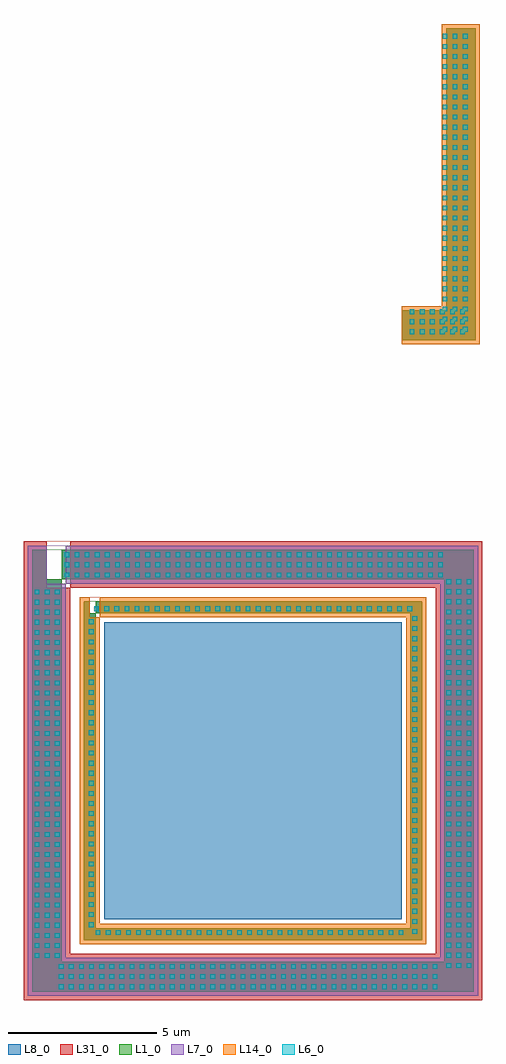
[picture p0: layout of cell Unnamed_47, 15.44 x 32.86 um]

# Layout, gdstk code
from math import pi, radians
import gdstk
lib = gdstk.Library(unit=1e-6, precision=1e-09)
def R(c, l, rs):  # rectangles x0, y0, x1, y1
    for r in rs: c.add(gdstk.rectangle(r[:2], r[2:], *l))
def P(c, l, *ps):  # polygons
    for p in ps: c.add(gdstk.Polygon(p, *l))
L1_0 = (1, 0)
L6_0 = (6, 0)
L7_0 = (7, 0)
L8_0 = (8, 0)
L14_0 = (14, 0)
L31_0 = (31, 0)

rectangle_gdsfactorypcom = lib.new_cell('rectangle_gdsfactorypcomponentspshapesprectangle_S10_10_8804435d')
R(rectangle_gdsfactorypcom, L8_0, [(0,0,10,10)])

unnamed_49 = lib.new_cell('Unnamed_49')
P(unnamed_49, L1_0, [(-0.7,-0.7),(-0.7,10.7),(-0.3,10.7),(-0.3,-0.3),(10.3,-0.3),(10.3,10.3),(-0.5,10.3),(-0.5,10.7),(10.7,10.7),(10.7,-0.7)])

unnamed_50 = lib.new_cell('Unnamed_50')
P(unnamed_50, L8_0, [(-0.7,-0.7),(-0.7,10.7),(-0.3,10.7),(-0.3,-0.3),(10.3,-0.3),(10.3,10.3),(-0.5,10.3),(-0.5,10.7),(10.7,10.7),(10.7,-0.7)])

unnamed_51 = lib.new_cell('Unnamed_51')
P(unnamed_51, L14_0, [(-0.84,-0.84),(-0.84,10.84),(-0.16,10.84),(-0.16,-0.16),(10.16,-0.16),(10.16,10.16),(-0.5,10.16),(-0.5,10.84),(10.84,10.84),(10.84,-0.84)])

c_rectangle_gdsfactorypcom = lib.new_cell('rectangle_gdsfactorypcomponentspshapesprectangle_S0p16__bf15bdcd')
R(c_rectangle_gdsfactorypcom, L6_0, [(0,0,0.16,0.16)])

via_array_vtcont_c1_r1_v = lib.new_cell('via_array_VTCont_C1_R1_VS0p16_VS0p33999999999999997_VE0_7d22e1aa')
via_array_vtcont_c1_r1_v.add(gdstk.Reference(c_rectangle_gdsfactorypcom, (0,0)))

unnamed_52 = lib.new_cell('Unnamed_52')
unnamed_52.add(gdstk.Reference(via_array_vtcont_c1_r1_v, (10.37,5.105), rotation=3*pi/2))
unnamed_52.add(gdstk.Reference(via_array_vtcont_c1_r1_v, (5.435,10.37)))
unnamed_52.add(gdstk.Reference(via_array_vtcont_c1_r1_v, (5.775,10.37)))
unnamed_52.add(gdstk.Reference(via_array_vtcont_c1_r1_v, (6.115,10.37)))
unnamed_52.add(gdstk.Reference(via_array_vtcont_c1_r1_v, (6.455,10.37)))
unnamed_52.add(gdstk.Reference(via_array_vtcont_c1_r1_v, (6.795,10.37)))
unnamed_52.add(gdstk.Reference(via_array_vtcont_c1_r1_v, (7.135,10.37)))
unnamed_52.add(gdstk.Reference(via_array_vtcont_c1_r1_v, (7.475,10.37)))
unnamed_52.add(gdstk.Reference(via_array_vtcont_c1_r1_v, (7.815,10.37)))
unnamed_52.add(gdstk.Reference(via_array_vtcont_c1_r1_v, (8.155,10.37)))
unnamed_52.add(gdstk.Reference(via_array_vtcont_c1_r1_v, (8.495,10.37)))
unnamed_52.add(gdstk.Reference(via_array_vtcont_c1_r1_v, (8.835,10.37)))
unnamed_52.add(gdstk.Reference(via_array_vtcont_c1_r1_v, (9.175,10.37)))
unnamed_52.add(gdstk.Reference(via_array_vtcont_c1_r1_v, (9.515,10.37)))
unnamed_52.add(gdstk.Reference(via_array_vtcont_c1_r1_v, (9.855,10.37)))
unnamed_52.add(gdstk.Reference(via_array_vtcont_c1_r1_v, (10.195,10.37)))
unnamed_52.add(gdstk.Reference(via_array_vtcont_c1_r1_v, (10.37,10.205), rotation=3*pi/2))
unnamed_52.add(gdstk.Reference(via_array_vtcont_c1_r1_v, (10.37,9.865), rotation=3*pi/2))
unnamed_52.add(gdstk.Reference(via_array_vtcont_c1_r1_v, (10.37,9.525), rotation=3*pi/2))
unnamed_52.add(gdstk.Reference(via_array_vtcont_c1_r1_v, (10.37,9.185), rotation=3*pi/2))
unnamed_52.add(gdstk.Reference(via_array_vtcont_c1_r1_v, (10.37,8.845), rotation=3*pi/2))
unnamed_52.add(gdstk.Reference(via_array_vtcont_c1_r1_v, (10.37,8.505), rotation=3*pi/2))
unnamed_52.add(gdstk.Reference(via_array_vtcont_c1_r1_v, (10.37,8.165), rotation=3*pi/2))
unnamed_52.add(gdstk.Reference(via_array_vtcont_c1_r1_v, (10.37,7.825), rotation=3*pi/2))
unnamed_52.add(gdstk.Reference(via_array_vtcont_c1_r1_v, (10.37,7.485), rotation=3*pi/2))
unnamed_52.add(gdstk.Reference(via_array_vtcont_c1_r1_v, (10.37,7.145), rotation=3*pi/2))
unnamed_52.add(gdstk.Reference(via_array_vtcont_c1_r1_v, (10.37,6.805), rotation=3*pi/2))
unnamed_52.add(gdstk.Reference(via_array_vtcont_c1_r1_v, (10.37,6.465), rotation=3*pi/2))
unnamed_52.add(gdstk.Reference(via_array_vtcont_c1_r1_v, (10.37,6.125), rotation=3*pi/2))
unnamed_52.add(gdstk.Reference(via_array_vtcont_c1_r1_v, (10.37,5.785), rotation=3*pi/2))
unnamed_52.add(gdstk.Reference(via_array_vtcont_c1_r1_v, (10.37,5.445), rotation=3*pi/2))
unnamed_52.add(gdstk.Reference(via_array_vtcont_c1_r1_v, (5.095,10.37)))
unnamed_52.add(gdstk.Reference(via_array_vtcont_c1_r1_v, (-0.345,10.37)))
unnamed_52.add(gdstk.Reference(via_array_vtcont_c1_r1_v, (-0.005,10.37)))
unnamed_52.add(gdstk.Reference(via_array_vtcont_c1_r1_v, (0.335,10.37)))
unnamed_52.add(gdstk.Reference(via_array_vtcont_c1_r1_v, (0.675,10.37)))
unnamed_52.add(gdstk.Reference(via_array_vtcont_c1_r1_v, (1.015,10.37)))
unnamed_52.add(gdstk.Reference(via_array_vtcont_c1_r1_v, (1.355,10.37)))
unnamed_52.add(gdstk.Reference(via_array_vtcont_c1_r1_v, (1.695,10.37)))
unnamed_52.add(gdstk.Reference(via_array_vtcont_c1_r1_v, (2.035,10.37)))
unnamed_52.add(gdstk.Reference(via_array_vtcont_c1_r1_v, (2.375,10.37)))
unnamed_52.add(gdstk.Reference(via_array_vtcont_c1_r1_v, (2.715,10.37)))
unnamed_52.add(gdstk.Reference(via_array_vtcont_c1_r1_v, (3.055,10.37)))
unnamed_52.add(gdstk.Reference(via_array_vtcont_c1_r1_v, (3.395,10.37)))
unnamed_52.add(gdstk.Reference(via_array_vtcont_c1_r1_v, (3.735,10.37)))
unnamed_52.add(gdstk.Reference(via_array_vtcont_c1_r1_v, (4.075,10.37)))
unnamed_52.add(gdstk.Reference(via_array_vtcont_c1_r1_v, (4.415,10.37)))
unnamed_52.add(gdstk.Reference(via_array_vtcont_c1_r1_v, (4.755,10.37)))
unnamed_52.add(gdstk.Reference(via_array_vtcont_c1_r1_v, (-0.37,5.175), rotation=pi/2))
unnamed_52.add(gdstk.Reference(via_array_vtcont_c1_r1_v, (-0.37,5.515), rotation=pi/2))
unnamed_52.add(gdstk.Reference(via_array_vtcont_c1_r1_v, (-0.37,5.855), rotation=pi/2))
unnamed_52.add(gdstk.Reference(via_array_vtcont_c1_r1_v, (-0.37,6.195), rotation=pi/2))
unnamed_52.add(gdstk.Reference(via_array_vtcont_c1_r1_v, (-0.37,6.535), rotation=pi/2))
unnamed_52.add(gdstk.Reference(via_array_vtcont_c1_r1_v, (-0.37,6.875), rotation=pi/2))
unnamed_52.add(gdstk.Reference(via_array_vtcont_c1_r1_v, (-0.37,7.215), rotation=pi/2))
unnamed_52.add(gdstk.Reference(via_array_vtcont_c1_r1_v, (-0.37,7.555), rotation=pi/2))
unnamed_52.add(gdstk.Reference(via_array_vtcont_c1_r1_v, (-0.37,7.895), rotation=pi/2))
unnamed_52.add(gdstk.Reference(via_array_vtcont_c1_r1_v, (-0.37,8.235), rotation=pi/2))
unnamed_52.add(gdstk.Reference(via_array_vtcont_c1_r1_v, (-0.37,8.575), rotation=pi/2))
unnamed_52.add(gdstk.Reference(via_array_vtcont_c1_r1_v, (-0.37,8.915), rotation=pi/2))
unnamed_52.add(gdstk.Reference(via_array_vtcont_c1_r1_v, (-0.37,9.255), rotation=pi/2))
unnamed_52.add(gdstk.Reference(via_array_vtcont_c1_r1_v, (-0.37,9.595), rotation=pi/2))
unnamed_52.add(gdstk.Reference(via_array_vtcont_c1_r1_v, (-0.37,9.935), rotation=pi/2))
unnamed_52.add(gdstk.Reference(via_array_vtcont_c1_r1_v, (-0.135,-0.37), rotation=pi))
unnamed_52.add(gdstk.Reference(via_array_vtcont_c1_r1_v, (-0.37,-0.265), rotation=pi/2))
unnamed_52.add(gdstk.Reference(via_array_vtcont_c1_r1_v, (-0.37,0.075), rotation=pi/2))
unnamed_52.add(gdstk.Reference(via_array_vtcont_c1_r1_v, (-0.37,0.415), rotation=pi/2))
unnamed_52.add(gdstk.Reference(via_array_vtcont_c1_r1_v, (-0.37,0.755), rotation=pi/2))
unnamed_52.add(gdstk.Reference(via_array_vtcont_c1_r1_v, (-0.37,1.095), rotation=pi/2))
unnamed_52.add(gdstk.Reference(via_array_vtcont_c1_r1_v, (-0.37,1.435), rotation=pi/2))
unnamed_52.add(gdstk.Reference(via_array_vtcont_c1_r1_v, (-0.37,1.775), rotation=pi/2))
unnamed_52.add(gdstk.Reference(via_array_vtcont_c1_r1_v, (-0.37,2.115), rotation=pi/2))
unnamed_52.add(gdstk.Reference(via_array_vtcont_c1_r1_v, (-0.37,2.455), rotation=pi/2))
unnamed_52.add(gdstk.Reference(via_array_vtcont_c1_r1_v, (-0.37,2.795), rotation=pi/2))
unnamed_52.add(gdstk.Reference(via_array_vtcont_c1_r1_v, (-0.37,3.135), rotation=pi/2))
unnamed_52.add(gdstk.Reference(via_array_vtcont_c1_r1_v, (-0.37,3.475), rotation=pi/2))
unnamed_52.add(gdstk.Reference(via_array_vtcont_c1_r1_v, (-0.37,3.815), rotation=pi/2))
unnamed_52.add(gdstk.Reference(via_array_vtcont_c1_r1_v, (-0.37,4.155), rotation=pi/2))
unnamed_52.add(gdstk.Reference(via_array_vtcont_c1_r1_v, (-0.37,4.495), rotation=pi/2))
unnamed_52.add(gdstk.Reference(via_array_vtcont_c1_r1_v, (-0.37,4.835), rotation=pi/2))
unnamed_52.add(gdstk.Reference(via_array_vtcont_c1_r1_v, (4.965,-0.37), rotation=pi))
unnamed_52.add(gdstk.Reference(via_array_vtcont_c1_r1_v, (4.625,-0.37), rotation=pi))
unnamed_52.add(gdstk.Reference(via_array_vtcont_c1_r1_v, (4.285,-0.37), rotation=pi))
unnamed_52.add(gdstk.Reference(via_array_vtcont_c1_r1_v, (3.945,-0.37), rotation=pi))
unnamed_52.add(gdstk.Reference(via_array_vtcont_c1_r1_v, (3.605,-0.37), rotation=pi))
unnamed_52.add(gdstk.Reference(via_array_vtcont_c1_r1_v, (3.265,-0.37), rotation=pi))
unnamed_52.add(gdstk.Reference(via_array_vtcont_c1_r1_v, (2.925,-0.37), rotation=pi))
unnamed_52.add(gdstk.Reference(via_array_vtcont_c1_r1_v, (2.585,-0.37), rotation=pi))
unnamed_52.add(gdstk.Reference(via_array_vtcont_c1_r1_v, (2.245,-0.37), rotation=pi))
unnamed_52.add(gdstk.Reference(via_array_vtcont_c1_r1_v, (1.905,-0.37), rotation=pi))
unnamed_52.add(gdstk.Reference(via_array_vtcont_c1_r1_v, (1.565,-0.37), rotation=pi))
unnamed_52.add(gdstk.Reference(via_array_vtcont_c1_r1_v, (1.225,-0.37), rotation=pi))
unnamed_52.add(gdstk.Reference(via_array_vtcont_c1_r1_v, (0.885,-0.37), rotation=pi))
unnamed_52.add(gdstk.Reference(via_array_vtcont_c1_r1_v, (0.545,-0.37), rotation=pi))
unnamed_52.add(gdstk.Reference(via_array_vtcont_c1_r1_v, (0.205,-0.37), rotation=pi))
unnamed_52.add(gdstk.Reference(via_array_vtcont_c1_r1_v, (10.065,-0.37), rotation=pi))
unnamed_52.add(gdstk.Reference(via_array_vtcont_c1_r1_v, (9.725,-0.37), rotation=pi))
unnamed_52.add(gdstk.Reference(via_array_vtcont_c1_r1_v, (9.385,-0.37), rotation=pi))
unnamed_52.add(gdstk.Reference(via_array_vtcont_c1_r1_v, (9.045,-0.37), rotation=pi))
unnamed_52.add(gdstk.Reference(via_array_vtcont_c1_r1_v, (8.705,-0.37), rotation=pi))
unnamed_52.add(gdstk.Reference(via_array_vtcont_c1_r1_v, (8.365,-0.37), rotation=pi))
unnamed_52.add(gdstk.Reference(via_array_vtcont_c1_r1_v, (8.025,-0.37), rotation=pi))
unnamed_52.add(gdstk.Reference(via_array_vtcont_c1_r1_v, (7.685,-0.37), rotation=pi))
unnamed_52.add(gdstk.Reference(via_array_vtcont_c1_r1_v, (7.345,-0.37), rotation=pi))
unnamed_52.add(gdstk.Reference(via_array_vtcont_c1_r1_v, (7.005,-0.37), rotation=pi))
unnamed_52.add(gdstk.Reference(via_array_vtcont_c1_r1_v, (6.665,-0.37), rotation=pi))
unnamed_52.add(gdstk.Reference(via_array_vtcont_c1_r1_v, (6.325,-0.37), rotation=pi))
unnamed_52.add(gdstk.Reference(via_array_vtcont_c1_r1_v, (5.985,-0.37), rotation=pi))
unnamed_52.add(gdstk.Reference(via_array_vtcont_c1_r1_v, (5.645,-0.37), rotation=pi))
unnamed_52.add(gdstk.Reference(via_array_vtcont_c1_r1_v, (5.305,-0.37), rotation=pi))
unnamed_52.add(gdstk.Reference(via_array_vtcont_c1_r1_v, (10.37,4.765), rotation=3*pi/2))
unnamed_52.add(gdstk.Reference(via_array_vtcont_c1_r1_v, (10.37,4.425), rotation=3*pi/2))
unnamed_52.add(gdstk.Reference(via_array_vtcont_c1_r1_v, (10.37,4.085), rotation=3*pi/2))
unnamed_52.add(gdstk.Reference(via_array_vtcont_c1_r1_v, (10.37,3.745), rotation=3*pi/2))
unnamed_52.add(gdstk.Reference(via_array_vtcont_c1_r1_v, (10.37,3.405), rotation=3*pi/2))
unnamed_52.add(gdstk.Reference(via_array_vtcont_c1_r1_v, (10.37,3.065), rotation=3*pi/2))
unnamed_52.add(gdstk.Reference(via_array_vtcont_c1_r1_v, (10.37,2.725), rotation=3*pi/2))
unnamed_52.add(gdstk.Reference(via_array_vtcont_c1_r1_v, (10.37,2.385), rotation=3*pi/2))
unnamed_52.add(gdstk.Reference(via_array_vtcont_c1_r1_v, (10.37,2.045), rotation=3*pi/2))
unnamed_52.add(gdstk.Reference(via_array_vtcont_c1_r1_v, (10.37,1.705), rotation=3*pi/2))
unnamed_52.add(gdstk.Reference(via_array_vtcont_c1_r1_v, (10.37,1.365), rotation=3*pi/2))
unnamed_52.add(gdstk.Reference(via_array_vtcont_c1_r1_v, (10.37,1.025), rotation=3*pi/2))
unnamed_52.add(gdstk.Reference(via_array_vtcont_c1_r1_v, (10.37,0.685), rotation=3*pi/2))
unnamed_52.add(gdstk.Reference(via_array_vtcont_c1_r1_v, (10.37,0.345), rotation=3*pi/2))
unnamed_52.add(gdstk.Reference(via_array_vtcont_c1_r1_v, (10.37,0.005), rotation=3*pi/2))
unnamed_52.add(gdstk.Reference(via_array_vtcont_c1_r1_v, (10.37,-0.335), rotation=3*pi/2))

unnamed_48 = lib.new_cell('Unnamed_48')
unnamed_48.add(gdstk.Reference(unnamed_49, (0,0)))
unnamed_48.add(gdstk.Reference(unnamed_50, (0,0)))
unnamed_48.add(gdstk.Reference(unnamed_51, (0,0)))
unnamed_48.add(gdstk.Reference(unnamed_52, (0,0)))

unnamed_54 = lib.new_cell('Unnamed_54')
P(unnamed_54, L1_0, [(-2.44,-2.44),(-2.44,12.44),(-1.44,12.44),(-1.44,-1.44),(11.44,-1.44),(11.44,11.44),(-1.94,11.44),(-1.94,12.44),(12.44,12.44),(12.44,-2.44)])

unnamed_55 = lib.new_cell('Unnamed_55')
P(unnamed_55, L8_0, [(-2.44,-2.44),(-2.44,12.44),(-1.44,12.44),(-1.44,-1.44),(11.44,-1.44),(11.44,11.44),(-1.94,11.44),(-1.94,12.44),(12.44,12.44),(12.44,-2.44)])

unnamed_56 = lib.new_cell('Unnamed_56')
P(unnamed_56, L7_0, [(-2.58,-2.58),(-2.58,12.58),(-1.3,12.58),(-1.3,-1.3),(11.3,-1.3),(11.3,11.3),(-1.94,11.3),(-1.94,12.58),(12.58,12.58),(12.58,-2.58)])

unnamed_57 = lib.new_cell('Unnamed_57')
P(unnamed_57, L31_0, [(-2.72,-2.72),(-2.72,12.72),(-1.16,12.72),(-1.16,-1.16),(11.16,-1.16),(11.16,11.16),(-1.94,11.16),(-1.94,12.72),(12.72,12.72),(12.72,-2.72)])

via_array_vtcont_c1_r3_v = lib.new_cell('via_array_VTCont_C1_R3_VS0p16_VS0p33999999999999997_VE0_a8a5b483')
via_array_vtcont_c1_r3_v.add(gdstk.Reference(c_rectangle_gdsfactorypcom, (0,0)))
via_array_vtcont_c1_r3_v.add(gdstk.Reference(c_rectangle_gdsfactorypcom, (0,0.34)))
via_array_vtcont_c1_r3_v.add(gdstk.Reference(c_rectangle_gdsfactorypcom, (0,0.68)))

unnamed_58 = lib.new_cell('Unnamed_58')
unnamed_58.add(gdstk.Reference(via_array_vtcont_c1_r3_v, (5.085,-1.51), rotation=pi))
unnamed_58.add(gdstk.Reference(via_array_vtcont_c1_r3_v, (5.455,11.51)))
unnamed_58.add(gdstk.Reference(via_array_vtcont_c1_r3_v, (5.795,11.51)))
unnamed_58.add(gdstk.Reference(via_array_vtcont_c1_r3_v, (6.135,11.51)))
unnamed_58.add(gdstk.Reference(via_array_vtcont_c1_r3_v, (6.475,11.51)))
unnamed_58.add(gdstk.Reference(via_array_vtcont_c1_r3_v, (6.815,11.51)))
unnamed_58.add(gdstk.Reference(via_array_vtcont_c1_r3_v, (7.155,11.51)))
unnamed_58.add(gdstk.Reference(via_array_vtcont_c1_r3_v, (7.495,11.51)))
unnamed_58.add(gdstk.Reference(via_array_vtcont_c1_r3_v, (7.835,11.51)))
unnamed_58.add(gdstk.Reference(via_array_vtcont_c1_r3_v, (8.175,11.51)))
unnamed_58.add(gdstk.Reference(via_array_vtcont_c1_r3_v, (8.515,11.51)))
unnamed_58.add(gdstk.Reference(via_array_vtcont_c1_r3_v, (8.855,11.51)))
unnamed_58.add(gdstk.Reference(via_array_vtcont_c1_r3_v, (9.195,11.51)))
unnamed_58.add(gdstk.Reference(via_array_vtcont_c1_r3_v, (9.535,11.51)))
unnamed_58.add(gdstk.Reference(via_array_vtcont_c1_r3_v, (9.875,11.51)))
unnamed_58.add(gdstk.Reference(via_array_vtcont_c1_r3_v, (10.215,11.51)))
unnamed_58.add(gdstk.Reference(via_array_vtcont_c1_r3_v, (10.555,11.51)))
unnamed_58.add(gdstk.Reference(via_array_vtcont_c1_r3_v, (10.895,11.51)))
unnamed_58.add(gdstk.Reference(via_array_vtcont_c1_r3_v, (11.235,11.51)))
unnamed_58.add(gdstk.Reference(via_array_vtcont_c1_r3_v, (11.51,11.445), rotation=3*pi/2))
unnamed_58.add(gdstk.Reference(via_array_vtcont_c1_r3_v, (11.51,11.105), rotation=3*pi/2))
unnamed_58.add(gdstk.Reference(via_array_vtcont_c1_r3_v, (11.51,10.765), rotation=3*pi/2))
unnamed_58.add(gdstk.Reference(via_array_vtcont_c1_r3_v, (11.51,10.425), rotation=3*pi/2))
unnamed_58.add(gdstk.Reference(via_array_vtcont_c1_r3_v, (11.51,10.085), rotation=3*pi/2))
unnamed_58.add(gdstk.Reference(via_array_vtcont_c1_r3_v, (11.51,9.745), rotation=3*pi/2))
unnamed_58.add(gdstk.Reference(via_array_vtcont_c1_r3_v, (11.51,9.405), rotation=3*pi/2))
unnamed_58.add(gdstk.Reference(via_array_vtcont_c1_r3_v, (11.51,9.065), rotation=3*pi/2))
unnamed_58.add(gdstk.Reference(via_array_vtcont_c1_r3_v, (11.51,8.725), rotation=3*pi/2))
unnamed_58.add(gdstk.Reference(via_array_vtcont_c1_r3_v, (11.51,8.385), rotation=3*pi/2))
unnamed_58.add(gdstk.Reference(via_array_vtcont_c1_r3_v, (11.51,8.045), rotation=3*pi/2))
unnamed_58.add(gdstk.Reference(via_array_vtcont_c1_r3_v, (11.51,7.705), rotation=3*pi/2))
unnamed_58.add(gdstk.Reference(via_array_vtcont_c1_r3_v, (11.51,7.365), rotation=3*pi/2))
unnamed_58.add(gdstk.Reference(via_array_vtcont_c1_r3_v, (11.51,7.025), rotation=3*pi/2))
unnamed_58.add(gdstk.Reference(via_array_vtcont_c1_r3_v, (11.51,6.685), rotation=3*pi/2))
unnamed_58.add(gdstk.Reference(via_array_vtcont_c1_r3_v, (11.51,6.345), rotation=3*pi/2))
unnamed_58.add(gdstk.Reference(via_array_vtcont_c1_r3_v, (11.51,6.005), rotation=3*pi/2))
unnamed_58.add(gdstk.Reference(via_array_vtcont_c1_r3_v, (11.51,5.665), rotation=3*pi/2))
unnamed_58.add(gdstk.Reference(via_array_vtcont_c1_r3_v, (11.51,5.325), rotation=3*pi/2))
unnamed_58.add(gdstk.Reference(via_array_vtcont_c1_r3_v, (5.115,11.51)))
unnamed_58.add(gdstk.Reference(via_array_vtcont_c1_r3_v, (-1.005,11.51)))
unnamed_58.add(gdstk.Reference(via_array_vtcont_c1_r3_v, (-0.665,11.51)))
unnamed_58.add(gdstk.Reference(via_array_vtcont_c1_r3_v, (-0.325,11.51)))
unnamed_58.add(gdstk.Reference(via_array_vtcont_c1_r3_v, (0.015,11.51)))
unnamed_58.add(gdstk.Reference(via_array_vtcont_c1_r3_v, (0.355,11.51)))
unnamed_58.add(gdstk.Reference(via_array_vtcont_c1_r3_v, (0.695,11.51)))
unnamed_58.add(gdstk.Reference(via_array_vtcont_c1_r3_v, (1.035,11.51)))
unnamed_58.add(gdstk.Reference(via_array_vtcont_c1_r3_v, (1.375,11.51)))
unnamed_58.add(gdstk.Reference(via_array_vtcont_c1_r3_v, (1.715,11.51)))
unnamed_58.add(gdstk.Reference(via_array_vtcont_c1_r3_v, (2.055,11.51)))
unnamed_58.add(gdstk.Reference(via_array_vtcont_c1_r3_v, (2.395,11.51)))
unnamed_58.add(gdstk.Reference(via_array_vtcont_c1_r3_v, (2.735,11.51)))
unnamed_58.add(gdstk.Reference(via_array_vtcont_c1_r3_v, (3.075,11.51)))
unnamed_58.add(gdstk.Reference(via_array_vtcont_c1_r3_v, (3.415,11.51)))
unnamed_58.add(gdstk.Reference(via_array_vtcont_c1_r3_v, (3.755,11.51)))
unnamed_58.add(gdstk.Reference(via_array_vtcont_c1_r3_v, (4.095,11.51)))
unnamed_58.add(gdstk.Reference(via_array_vtcont_c1_r3_v, (4.435,11.51)))
unnamed_58.add(gdstk.Reference(via_array_vtcont_c1_r3_v, (4.775,11.51)))
unnamed_58.add(gdstk.Reference(via_array_vtcont_c1_r3_v, (-1.345,11.51)))
unnamed_58.add(gdstk.Reference(via_array_vtcont_c1_r3_v, (-1.51,5.155), rotation=pi/2))
unnamed_58.add(gdstk.Reference(via_array_vtcont_c1_r3_v, (-1.51,5.495), rotation=pi/2))
unnamed_58.add(gdstk.Reference(via_array_vtcont_c1_r3_v, (-1.51,5.835), rotation=pi/2))
unnamed_58.add(gdstk.Reference(via_array_vtcont_c1_r3_v, (-1.51,6.175), rotation=pi/2))
unnamed_58.add(gdstk.Reference(via_array_vtcont_c1_r3_v, (-1.51,6.515), rotation=pi/2))
unnamed_58.add(gdstk.Reference(via_array_vtcont_c1_r3_v, (-1.51,6.855), rotation=pi/2))
unnamed_58.add(gdstk.Reference(via_array_vtcont_c1_r3_v, (-1.51,7.195), rotation=pi/2))
unnamed_58.add(gdstk.Reference(via_array_vtcont_c1_r3_v, (-1.51,7.535), rotation=pi/2))
unnamed_58.add(gdstk.Reference(via_array_vtcont_c1_r3_v, (-1.51,7.875), rotation=pi/2))
unnamed_58.add(gdstk.Reference(via_array_vtcont_c1_r3_v, (-1.51,8.215), rotation=pi/2))
unnamed_58.add(gdstk.Reference(via_array_vtcont_c1_r3_v, (-1.51,8.555), rotation=pi/2))
unnamed_58.add(gdstk.Reference(via_array_vtcont_c1_r3_v, (-1.51,8.895), rotation=pi/2))
unnamed_58.add(gdstk.Reference(via_array_vtcont_c1_r3_v, (-1.51,9.235), rotation=pi/2))
unnamed_58.add(gdstk.Reference(via_array_vtcont_c1_r3_v, (-1.51,9.575), rotation=pi/2))
unnamed_58.add(gdstk.Reference(via_array_vtcont_c1_r3_v, (-1.51,9.915), rotation=pi/2))
unnamed_58.add(gdstk.Reference(via_array_vtcont_c1_r3_v, (-1.51,10.255), rotation=pi/2))
unnamed_58.add(gdstk.Reference(via_array_vtcont_c1_r3_v, (-1.51,10.595), rotation=pi/2))
unnamed_58.add(gdstk.Reference(via_array_vtcont_c1_r3_v, (-1.51,10.935), rotation=pi/2))
unnamed_58.add(gdstk.Reference(via_array_vtcont_c1_r3_v, (-1.375,-1.51), rotation=pi))
unnamed_58.add(gdstk.Reference(via_array_vtcont_c1_r3_v, (-1.51,-1.305), rotation=pi/2))
unnamed_58.add(gdstk.Reference(via_array_vtcont_c1_r3_v, (-1.51,-0.965), rotation=pi/2))
unnamed_58.add(gdstk.Reference(via_array_vtcont_c1_r3_v, (-1.51,-0.625), rotation=pi/2))
unnamed_58.add(gdstk.Reference(via_array_vtcont_c1_r3_v, (-1.51,-0.285), rotation=pi/2))
unnamed_58.add(gdstk.Reference(via_array_vtcont_c1_r3_v, (-1.51,0.055), rotation=pi/2))
unnamed_58.add(gdstk.Reference(via_array_vtcont_c1_r3_v, (-1.51,0.395), rotation=pi/2))
unnamed_58.add(gdstk.Reference(via_array_vtcont_c1_r3_v, (-1.51,0.735), rotation=pi/2))
unnamed_58.add(gdstk.Reference(via_array_vtcont_c1_r3_v, (-1.51,1.075), rotation=pi/2))
unnamed_58.add(gdstk.Reference(via_array_vtcont_c1_r3_v, (-1.51,1.415), rotation=pi/2))
unnamed_58.add(gdstk.Reference(via_array_vtcont_c1_r3_v, (-1.51,1.755), rotation=pi/2))
unnamed_58.add(gdstk.Reference(via_array_vtcont_c1_r3_v, (-1.51,2.095), rotation=pi/2))
unnamed_58.add(gdstk.Reference(via_array_vtcont_c1_r3_v, (-1.51,2.435), rotation=pi/2))
unnamed_58.add(gdstk.Reference(via_array_vtcont_c1_r3_v, (-1.51,2.775), rotation=pi/2))
unnamed_58.add(gdstk.Reference(via_array_vtcont_c1_r3_v, (-1.51,3.115), rotation=pi/2))
unnamed_58.add(gdstk.Reference(via_array_vtcont_c1_r3_v, (-1.51,3.455), rotation=pi/2))
unnamed_58.add(gdstk.Reference(via_array_vtcont_c1_r3_v, (-1.51,3.795), rotation=pi/2))
unnamed_58.add(gdstk.Reference(via_array_vtcont_c1_r3_v, (-1.51,4.135), rotation=pi/2))
unnamed_58.add(gdstk.Reference(via_array_vtcont_c1_r3_v, (-1.51,4.475), rotation=pi/2))
unnamed_58.add(gdstk.Reference(via_array_vtcont_c1_r3_v, (-1.51,4.815), rotation=pi/2))
unnamed_58.add(gdstk.Reference(via_array_vtcont_c1_r3_v, (4.745,-1.51), rotation=pi))
unnamed_58.add(gdstk.Reference(via_array_vtcont_c1_r3_v, (4.405,-1.51), rotation=pi))
unnamed_58.add(gdstk.Reference(via_array_vtcont_c1_r3_v, (4.065,-1.51), rotation=pi))
unnamed_58.add(gdstk.Reference(via_array_vtcont_c1_r3_v, (3.725,-1.51), rotation=pi))
unnamed_58.add(gdstk.Reference(via_array_vtcont_c1_r3_v, (3.385,-1.51), rotation=pi))
unnamed_58.add(gdstk.Reference(via_array_vtcont_c1_r3_v, (3.045,-1.51), rotation=pi))
unnamed_58.add(gdstk.Reference(via_array_vtcont_c1_r3_v, (2.705,-1.51), rotation=pi))
unnamed_58.add(gdstk.Reference(via_array_vtcont_c1_r3_v, (2.365,-1.51), rotation=pi))
unnamed_58.add(gdstk.Reference(via_array_vtcont_c1_r3_v, (2.025,-1.51), rotation=pi))
unnamed_58.add(gdstk.Reference(via_array_vtcont_c1_r3_v, (1.685,-1.51), rotation=pi))
unnamed_58.add(gdstk.Reference(via_array_vtcont_c1_r3_v, (1.345,-1.51), rotation=pi))
unnamed_58.add(gdstk.Reference(via_array_vtcont_c1_r3_v, (1.005,-1.51), rotation=pi))
unnamed_58.add(gdstk.Reference(via_array_vtcont_c1_r3_v, (0.665,-1.51), rotation=pi))
unnamed_58.add(gdstk.Reference(via_array_vtcont_c1_r3_v, (0.325,-1.51), rotation=pi))
unnamed_58.add(gdstk.Reference(via_array_vtcont_c1_r3_v, (-0.015,-1.51), rotation=pi))
unnamed_58.add(gdstk.Reference(via_array_vtcont_c1_r3_v, (-0.355,-1.51), rotation=pi))
unnamed_58.add(gdstk.Reference(via_array_vtcont_c1_r3_v, (-0.695,-1.51), rotation=pi))
unnamed_58.add(gdstk.Reference(via_array_vtcont_c1_r3_v, (-1.035,-1.51), rotation=pi))
unnamed_58.add(gdstk.Reference(via_array_vtcont_c1_r3_v, (11.51,-1.475), rotation=3*pi/2))
unnamed_58.add(gdstk.Reference(via_array_vtcont_c1_r3_v, (11.205,-1.51), rotation=pi))
unnamed_58.add(gdstk.Reference(via_array_vtcont_c1_r3_v, (10.865,-1.51), rotation=pi))
unnamed_58.add(gdstk.Reference(via_array_vtcont_c1_r3_v, (10.525,-1.51), rotation=pi))
unnamed_58.add(gdstk.Reference(via_array_vtcont_c1_r3_v, (10.185,-1.51), rotation=pi))
unnamed_58.add(gdstk.Reference(via_array_vtcont_c1_r3_v, (9.845,-1.51), rotation=pi))
unnamed_58.add(gdstk.Reference(via_array_vtcont_c1_r3_v, (9.505,-1.51), rotation=pi))
unnamed_58.add(gdstk.Reference(via_array_vtcont_c1_r3_v, (9.165,-1.51), rotation=pi))
unnamed_58.add(gdstk.Reference(via_array_vtcont_c1_r3_v, (8.825,-1.51), rotation=pi))
unnamed_58.add(gdstk.Reference(via_array_vtcont_c1_r3_v, (8.485,-1.51), rotation=pi))
unnamed_58.add(gdstk.Reference(via_array_vtcont_c1_r3_v, (8.145,-1.51), rotation=pi))
unnamed_58.add(gdstk.Reference(via_array_vtcont_c1_r3_v, (7.805,-1.51), rotation=pi))
unnamed_58.add(gdstk.Reference(via_array_vtcont_c1_r3_v, (7.465,-1.51), rotation=pi))
unnamed_58.add(gdstk.Reference(via_array_vtcont_c1_r3_v, (7.125,-1.51), rotation=pi))
unnamed_58.add(gdstk.Reference(via_array_vtcont_c1_r3_v, (6.785,-1.51), rotation=pi))
unnamed_58.add(gdstk.Reference(via_array_vtcont_c1_r3_v, (6.445,-1.51), rotation=pi))
unnamed_58.add(gdstk.Reference(via_array_vtcont_c1_r3_v, (6.105,-1.51), rotation=pi))
unnamed_58.add(gdstk.Reference(via_array_vtcont_c1_r3_v, (5.765,-1.51), rotation=pi))
unnamed_58.add(gdstk.Reference(via_array_vtcont_c1_r3_v, (5.425,-1.51), rotation=pi))
unnamed_58.add(gdstk.Reference(via_array_vtcont_c1_r3_v, (11.51,4.985), rotation=3*pi/2))
unnamed_58.add(gdstk.Reference(via_array_vtcont_c1_r3_v, (11.51,4.645), rotation=3*pi/2))
unnamed_58.add(gdstk.Reference(via_array_vtcont_c1_r3_v, (11.51,4.305), rotation=3*pi/2))
unnamed_58.add(gdstk.Reference(via_array_vtcont_c1_r3_v, (11.51,3.965), rotation=3*pi/2))
unnamed_58.add(gdstk.Reference(via_array_vtcont_c1_r3_v, (11.51,3.625), rotation=3*pi/2))
unnamed_58.add(gdstk.Reference(via_array_vtcont_c1_r3_v, (11.51,3.285), rotation=3*pi/2))
unnamed_58.add(gdstk.Reference(via_array_vtcont_c1_r3_v, (11.51,2.945), rotation=3*pi/2))
unnamed_58.add(gdstk.Reference(via_array_vtcont_c1_r3_v, (11.51,2.605), rotation=3*pi/2))
unnamed_58.add(gdstk.Reference(via_array_vtcont_c1_r3_v, (11.51,2.265), rotation=3*pi/2))
unnamed_58.add(gdstk.Reference(via_array_vtcont_c1_r3_v, (11.51,1.925), rotation=3*pi/2))
unnamed_58.add(gdstk.Reference(via_array_vtcont_c1_r3_v, (11.51,1.585), rotation=3*pi/2))
unnamed_58.add(gdstk.Reference(via_array_vtcont_c1_r3_v, (11.51,1.245), rotation=3*pi/2))
unnamed_58.add(gdstk.Reference(via_array_vtcont_c1_r3_v, (11.51,0.905), rotation=3*pi/2))
unnamed_58.add(gdstk.Reference(via_array_vtcont_c1_r3_v, (11.51,0.565), rotation=3*pi/2))
unnamed_58.add(gdstk.Reference(via_array_vtcont_c1_r3_v, (11.51,0.225), rotation=3*pi/2))
unnamed_58.add(gdstk.Reference(via_array_vtcont_c1_r3_v, (11.51,-0.115), rotation=3*pi/2))
unnamed_58.add(gdstk.Reference(via_array_vtcont_c1_r3_v, (11.51,-0.455), rotation=3*pi/2))
unnamed_58.add(gdstk.Reference(via_array_vtcont_c1_r3_v, (11.51,-0.795), rotation=3*pi/2))
unnamed_58.add(gdstk.Reference(via_array_vtcont_c1_r3_v, (11.51,-1.135), rotation=3*pi/2))

unnamed_53 = lib.new_cell('Unnamed_53')
unnamed_53.add(gdstk.Reference(unnamed_54, (0,0)))
unnamed_53.add(gdstk.Reference(unnamed_55, (0,0)))
unnamed_53.add(gdstk.Reference(unnamed_56, (0,0)))
unnamed_53.add(gdstk.Reference(unnamed_57, (0,0)))
unnamed_53.add(gdstk.Reference(unnamed_58, (0,0)))

unnamed_60 = lib.new_cell('Unnamed_60')
P(unnamed_60, L1_0, [(10,19.5),(10,20.5),(11.5,20.5),(11.5,30),(12.5,30),(12.5,19.5)])

unnamed_61 = lib.new_cell('Unnamed_61')
P(unnamed_61, L8_0, [(10,19.5),(10,20.5),(11.5,20.5),(11.5,30),(12.5,30),(12.5,19.5)])

unnamed_62 = lib.new_cell('Unnamed_62')
P(unnamed_62, L14_0, [(10,19.36),(10,20.64),(11.36,20.64),(11.36,30.14),(12.64,30.14),(12.64,19.36)])

unnamed_63 = lib.new_cell('Unnamed_63')
unnamed_63.add(gdstk.Reference(via_array_vtcont_c1_r3_v, (10.05,20)))
unnamed_63.add(gdstk.Reference(via_array_vtcont_c1_r3_v, (10.39,20)))
unnamed_63.add(gdstk.Reference(via_array_vtcont_c1_r3_v, (10.73,20)))
unnamed_63.add(gdstk.Reference(via_array_vtcont_c1_r3_v, (11.07,20)))
unnamed_63.add(gdstk.Reference(via_array_vtcont_c1_r3_v, (11.41,20)))
unnamed_63.add(gdstk.Reference(via_array_vtcont_c1_r3_v, (11.75,20)))
unnamed_63.add(gdstk.Reference(via_array_vtcont_c1_r3_v, (12,20.09), rotation=pi/2))
unnamed_63.add(gdstk.Reference(via_array_vtcont_c1_r3_v, (12,20.43), rotation=pi/2))
unnamed_63.add(gdstk.Reference(via_array_vtcont_c1_r3_v, (12,20.77), rotation=pi/2))
unnamed_63.add(gdstk.Reference(via_array_vtcont_c1_r3_v, (12,21.11), rotation=pi/2))
unnamed_63.add(gdstk.Reference(via_array_vtcont_c1_r3_v, (12,21.45), rotation=pi/2))
unnamed_63.add(gdstk.Reference(via_array_vtcont_c1_r3_v, (12,21.79), rotation=pi/2))
unnamed_63.add(gdstk.Reference(via_array_vtcont_c1_r3_v, (12,22.13), rotation=pi/2))
unnamed_63.add(gdstk.Reference(via_array_vtcont_c1_r3_v, (12,22.47), rotation=pi/2))
unnamed_63.add(gdstk.Reference(via_array_vtcont_c1_r3_v, (12,22.81), rotation=pi/2))
unnamed_63.add(gdstk.Reference(via_array_vtcont_c1_r3_v, (12,23.15), rotation=pi/2))
unnamed_63.add(gdstk.Reference(via_array_vtcont_c1_r3_v, (12,23.49), rotation=pi/2))
unnamed_63.add(gdstk.Reference(via_array_vtcont_c1_r3_v, (12,23.83), rotation=pi/2))
unnamed_63.add(gdstk.Reference(via_array_vtcont_c1_r3_v, (12,24.17), rotation=pi/2))
unnamed_63.add(gdstk.Reference(via_array_vtcont_c1_r3_v, (12,24.51), rotation=pi/2))
unnamed_63.add(gdstk.Reference(via_array_vtcont_c1_r3_v, (12,24.85), rotation=pi/2))
unnamed_63.add(gdstk.Reference(via_array_vtcont_c1_r3_v, (12,25.19), rotation=pi/2))
unnamed_63.add(gdstk.Reference(via_array_vtcont_c1_r3_v, (12,25.53), rotation=pi/2))
unnamed_63.add(gdstk.Reference(via_array_vtcont_c1_r3_v, (12,25.87), rotation=pi/2))
unnamed_63.add(gdstk.Reference(via_array_vtcont_c1_r3_v, (12,26.21), rotation=pi/2))
unnamed_63.add(gdstk.Reference(via_array_vtcont_c1_r3_v, (12,26.55), rotation=pi/2))
unnamed_63.add(gdstk.Reference(via_array_vtcont_c1_r3_v, (12,26.89), rotation=pi/2))
unnamed_63.add(gdstk.Reference(via_array_vtcont_c1_r3_v, (12,27.23), rotation=pi/2))
unnamed_63.add(gdstk.Reference(via_array_vtcont_c1_r3_v, (12,27.57), rotation=pi/2))
unnamed_63.add(gdstk.Reference(via_array_vtcont_c1_r3_v, (12,27.91), rotation=pi/2))
unnamed_63.add(gdstk.Reference(via_array_vtcont_c1_r3_v, (12,28.25), rotation=pi/2))
unnamed_63.add(gdstk.Reference(via_array_vtcont_c1_r3_v, (12,28.59), rotation=pi/2))
unnamed_63.add(gdstk.Reference(via_array_vtcont_c1_r3_v, (12,28.93), rotation=pi/2))
unnamed_63.add(gdstk.Reference(via_array_vtcont_c1_r3_v, (12,29.27), rotation=pi/2))
unnamed_63.add(gdstk.Reference(via_array_vtcont_c1_r3_v, (12,29.61), rotation=pi/2))
unnamed_63.add(gdstk.Reference(via_array_vtcont_c1_r3_v, (12,29.95), rotation=pi/2))

unnamed_59 = lib.new_cell('Unnamed_59')
unnamed_59.add(gdstk.Reference(unnamed_60, (0,0)))
unnamed_59.add(gdstk.Reference(unnamed_61, (0,0)))
unnamed_59.add(gdstk.Reference(unnamed_62, (0,0)))
unnamed_59.add(gdstk.Reference(unnamed_63, (0.225,-0.305)))

unnamed_47 = lib.new_cell('Unnamed_47')
unnamed_47.add(gdstk.Reference(rectangle_gdsfactorypcom, (0,0)))
unnamed_47.add(gdstk.Reference(unnamed_48, (0,0)))
unnamed_47.add(gdstk.Reference(unnamed_53, (0,0)))
unnamed_47.add(gdstk.Reference(unnamed_59, (0,0)))

lib.write_gds('Unnamed_47.gds')
